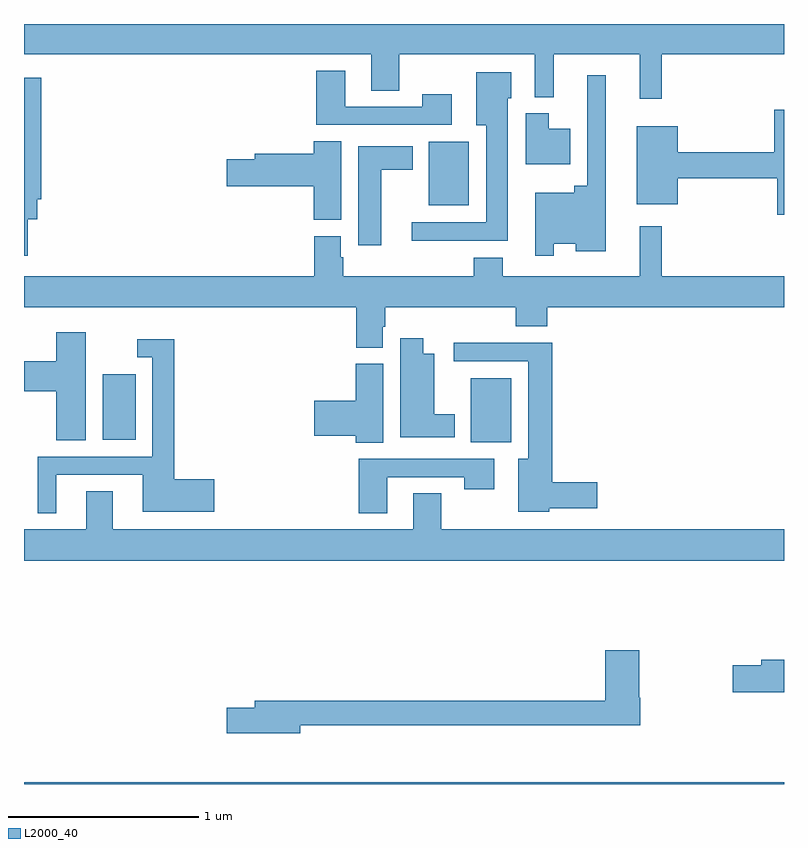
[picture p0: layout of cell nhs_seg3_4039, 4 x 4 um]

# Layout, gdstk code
import gdstk
lib = gdstk.Library(unit=1e-6, precision=1e-09)
def R(c, l, rs):  # rectangles x0, y0, x1, y1
    for r in rs: c.add(gdstk.rectangle(r[:2], r[2:], *l))
def P(c, l, *ps):  # polygons
    for p in ps: c.add(gdstk.Polygon(p, *l))
L2000_40 = (2000, 40)

nhs_seg3_4039 = lib.new_cell('nhs_seg3_4039')
R(nhs_seg3_4039, L2000_40, [(323,706.4,327,706.408), (325.352,708.2,325.564,708.535), (323.414,708.212,323.587,708.556), (325.13,709.445,325.342,709.78)])
P(nhs_seg3_4039, L2000_40, [(326.357,710.24),(327,710.24),(327,710.4),(323,710.4),(323,710.24),(324.827,710.24),(324.827,710.05),(324.975,710.05),(324.975,710.24),(325.689,710.24),(325.689,710.015),(325.787,710.015),(325.787,710.24),(326.24,710.24),(326.24,710.007),(326.357,710.007)],
  [(325.252,710.029),(325.096,710.029),(325.096,709.965),(324.691,709.965),(324.691,710.155),(324.539,710.155),(324.539,709.869),(325.252,709.869)],
  [(325.546,710.01),(325.564,710.01),(325.564,710.146),(325.379,710.146),(325.379,709.868),(325.433,709.868),(325.433,709.356),(325.041,709.356),(325.041,709.259),(325.546,709.259)],
  [(325.788,709.244),(325.904,709.244),(325.904,709.205),(326.062,709.205),(326.062,710.131),(325.965,710.131),(325.965,709.549),(325.897,709.549),(325.897,709.513),(325.692,709.513),(325.692,709.179),(325.788,709.179)],
  [(323.021,709.373),(323.07,709.373),(323.07,709.477),(323.09,709.477),(323.09,710.116),(323,710.116),(323,709.179),(323.021,709.179)],
  [(327,709.948),(326.948,709.948),(326.948,709.724),(326.44,709.724),(326.44,709.861),(326.225,709.861),(326.225,709.451),(326.44,709.451),(326.44,709.588),(326.964,709.588),(326.964,709.395),(327,709.395)],
  [(325.876,709.849),(325.762,709.849),(325.762,709.93),(325.64,709.93),(325.64,709.661),(325.876,709.661)],
  [(324.67,709.784),(324.524,709.784),(324.524,709.718),(324.215,709.718),(324.215,709.688),(324.066,709.688),(324.066,709.546),(324.524,709.546),(324.524,709.369),(324.67,709.369)],
  [(324.88,709.634),(325.045,709.634),(325.045,709.756),(324.758,709.756),(324.758,709.236),(324.88,709.236)],
  [(324.889,708.807),(324.902,708.807),(324.902,708.908),(325.589,708.908),(325.589,708.809),(325.754,708.809),(325.754,708.908),(327,708.908),(327,709.072),(326.357,709.072),(326.357,709.336),(326.24,709.336),(326.24,709.072),(325.519,709.072),(325.519,709.171),(325.367,709.171),(325.367,709.072),(324.68,709.072),(324.68,709.173),(324.667,709.173),(324.667,709.284),(324.527,709.284),(324.527,709.072),(323,709.072),(323,708.908),(324.749,708.908),(324.749,708.697),(324.889,708.697)],
  [(323.326,708.778),(323.171,708.778),(323.171,708.625),(323,708.625),(323,708.467),(323.171,708.467),(323.171,708.208),(323.326,708.208)],
  [(325.267,708.346),(325.159,708.346),(325.159,708.664),(325.102,708.664),(325.102,708.745),(324.98,708.745),(324.98,708.224),(325.267,708.224)],
  [(323.17,708.027),(323.624,708.027),(323.624,707.834),(324.001,707.834),(324.001,708.005),(323.792,708.005),(323.792,708.742),(323.595,708.742),(323.595,708.645),(323.676,708.645),(323.676,708.123),(323.072,708.123),(323.072,707.826),(323.17,707.826)],
  [(325.764,707.852),(326.017,707.852),(326.017,707.987),(325.781,707.987),(325.781,708.722),(325.263,708.722),(325.263,708.624),(325.655,708.624),(325.655,708.112),(325.601,708.112),(325.601,707.834),(325.764,707.834)],
  [(324.892,708.612),(324.746,708.612),(324.746,708.416),(324.528,708.416),(324.528,708.233),(324.746,708.233),(324.746,708.196),(324.892,708.196)],
  [(324.913,708.015),(325.318,708.015),(325.318,707.952),(325.474,707.952),(325.474,708.111),(324.761,708.111),(324.761,707.826),(324.913,707.826)],
  [(327,707.74),(325.197,707.74),(325.197,707.93),(325.049,707.93),(325.049,707.74),(323.467,707.74),(323.467,707.942),(323.327,707.942),(323.327,707.74),(323,707.74),(323,707.576),(327,707.576)],
  [(324.454,706.71),(326.243,706.71),(326.243,706.855),(326.238,706.855),(326.238,707.104),(326.06,707.104),(326.06,706.838),(324.215,706.838),(324.215,706.802),(324.066,706.802),(324.066,706.667),(324.454,706.667)],
  [(327,707.054),(326.879,707.054),(326.879,707.024),(326.73,707.024),(326.73,706.882),(327,706.882)])

lib.write_gds('nhs_seg3_4039.gds')
